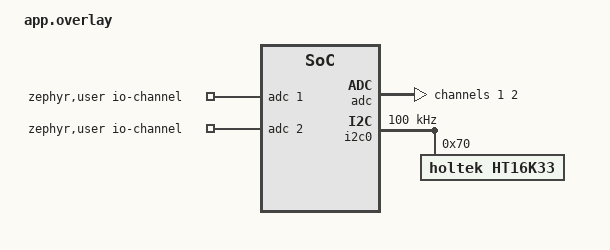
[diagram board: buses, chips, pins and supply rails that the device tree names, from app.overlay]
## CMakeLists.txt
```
#
# Copyright (c) 2018 Nordic Semiconductor
#
# SPDX-License-Identifier: LicenseRef-Nordic-5-Clause
#
cmake_minimum_required(VERSION 3.20.0)

find_package(Zephyr REQUIRED HINTS $ENV{ZEPHYR_BASE})
project(NONE)

# NORDIC SDK APP START
target_sources(app PRIVATE
  src/main.c
  src/led.c
)

# Include UART ASYNC API adapter
target_sources_ifdef(CONFIG_BT_NUS_UART_ASYNC_ADAPTER app PRIVATE
  src/uart_async_adapter.c
)

# NORDIC SDK APP END

zephyr_library_include_directories(.)
```

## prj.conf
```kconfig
CONFIG_ADC=y
# CONFIG_ADC_ASYNC=y

CONFIG_LOG=y
CONFIG_I2C=y
CONFIG_LED=y
CONFIG_KSCAN=y
CONFIG_KSCAN_INIT_PRIORITY=95
CONFIG_HT16K33_KEYSCAN=y

CONFIG_BT=y
CONFIG_BT_DEBUG_LOG=y
CONFIG_BT_L2CAP_TX_BUF_COUNT=5
CONFIG_BT_PERIPHERAL=y
CONFIG_BT_DEVICE_NAME="My_Device"
CONFIG_BT_DEVICE_APPEARANCE=962

CONFIG_UART_CONSOLE=y
CONFIG_UART_LINE_CTRL=y

CONFIG_HEAP_MEM_POOL_SIZE=2048
```

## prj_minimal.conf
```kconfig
#
# Copyright (c) 2021 Nordic Semiconductor
#
# SPDX-License-Identifier: LicenseRef-Nordic-5-Clause
#

# Enable the UART driver
CONFIG_UART_ASYNC_API=y
CONFIG_NRFX_UARTE0=y
CONFIG_SERIAL=y

CONFIG_HEAP_MEM_POOL_SIZE=2048

CONFIG_BT=y
CONFIG_BT_PERIPHERAL=y
CONFIG_BT_DEVICE_NAME="Jang" #TODO: Edit according to your device
CONFIG_BT_DEVICE_APPEARANCE=833
CONFIG_BT_MAX_CONN=1
CONFIG_BT_MAX_PAIRED=1

# Enable the NUS service
CONFIG_BT_NUS=y

# Enable bonding
CONFIG_BT_SETTINGS=y
CONFIG_FLASH=y
CONFIG_FLASH_PAGE_LAYOUT=y
CONFIG_FLASH_MAP=y
CONFIG_NVS=y
CONFIG_SETTINGS=y

# Enable DK LED and Buttons library
CONFIG_DK_LIBRARY=y

# Drivers and peripherals
# CONFIG_I2C=n
CONFIG_WATCHDOG=n
CONFIG_SPI=n
CONFIG_GPIO=n

CONFIG_ADC=y
# CONFIG_ADC_ASYNC=y

# CONFIG_LOG=y
CONFIG_I2C=y
CONFIG_LED=y
CONFIG_KSCAN=y
CONFIG_KSCAN_INIT_PRIORITY=95
CONFIG_HT16K33_KEYSCAN=y

# Power management

# Interrupts
CONFIG_DYNAMIC_INTERRUPTS=n
CONFIG_IRQ_OFFLOAD=n

# Memory protection
CONFIG_THREAD_STACK_INFO=n
CONFIG_THREAD_CUSTOM_DATA=n
CONFIG_FPU=n

# Boot
CONFIG_BOOT_BANNER=n
CONFIG_BOOT_DELAY=0

# Console
CONFIG_CONSOLE=n
CONFIG_UART_CONSOLE=n
CONFIG_STDOUT_CONSOLE=n
CONFIG_PRINTK=n
CONFIG_EARLY_CONSOLE=n

# Build
CONFIG_SIZE_OPTIMIZATIONS=y

# ARM
CONFIG_ARM_MPU=n

# In order to correctly tune the stack sizes for the threads the following
# Configurations can enabled to print the current use:
#CONFIG_THREAD_NAME=y
#CONFIG_THREAD_ANALYZER=y
#CONFIG_THREAD_ANALYZER_AUTO=y
#CONFIG_THREAD_ANALYZER_RUN_UNLOCKED=y
#CONFIG_THREAD_ANALYZER_USE_PRINTK=y
#CONFIG_CONSOLE=y
#CONFIG_UART_CONSOLE=y
#CONFIG_SERIAL=y
#CONFIG_PRINTK=y

# Example output of thread analyzer
#SDC RX              : unused 800 usage 224 / 1024 (21 %)
#BT ECC              : unused 216 usage 888 / 1104 (80 %)
#BT RX               : unused 1736 usage 464 / 2200 (21 %)
#BT TX               : unused 1008 usage 528 / 1536 (34 %)
#ble_write_thread_id : unused 688 usage 336 / 1024 (32 %)
#sysworkq            : unused 1912 usage 136 / 2048 (6 %)
#MPSL signal         : unused 928 usage 96 / 1024 (9 %)
#idle 00             : unused 224 usage 96 / 320 (30 %)
#main                : unused 568 usage 456 / 1024 (44 %)
CONFIG_BT_RX_STACK_SIZE=1024
CONFIG_BT_HCI_TX_STACK_SIZE_WITH_PROMPT=y
CONFIG_BT_HCI_TX_STACK_SIZE=640
CONFIG_SYSTEM_WORKQUEUE_STACK_SIZE=512
CONFIG_MPSL_WORK_STACK_SIZE=256
CONFIG_MAIN_STACK_SIZE=864
CONFIG_IDLE_STACK_SIZE=128
CONFIG_ISR_STACK_SIZE=1024
CONFIG_BT_NUS_THREAD_STACK_SIZE=512

# Disable features not needed
CONFIG_TIMESLICING=n
CONFIG_MINIMAL_LIBC_MALLOC=n
# CONFIG_LOG=n
CONFIG_ASSERT=n

# Disable Bluetooth features not needed
CONFIG_BT_DEBUG_NONE=y
CONFIG_BT_ASSERT=n
CONFIG_BT_DATA_LEN_UPDATE=n
CONFIG_BT_PHY_UPDATE=n
CONFIG_BT_GATT_CACHING=n
CONFIG_BT_GATT_SERVICE_CHANGED=n
CONFIG_BT_GAP_PERIPHERAL_PREF_PARAMS=n
CONFIG_BT_SETTINGS_CCC_LAZY_LOADING=y
CONFIG_BT_HCI_VS_EXT=n

# Disable Bluetooth controller features not needed
CONFIG_BT_CTLR_PRIVACY=n
CONFIG_BT_CTLR_PHY_2M=n

# Reduce Bluetooth buffers
CONFIG_BT_BUF_EVT_DISCARDABLE_COUNT=1
CONFIG_BT_BUF_EVT_DISCARDABLE_SIZE=43
CONFIG_BT_BUF_EVT_RX_COUNT=2

CONFIG_BT_CONN_TX_MAX=2
CONFIG_BT_L2CAP_TX_BUF_COUNT=2
CONFIG_BT_CTLR_RX_BUFFERS=1
CONFIG_BT_BUF_ACL_TX_COUNT=3
CONFIG_BT_BUF_ACL_TX_SIZE=27
```

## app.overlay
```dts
/*
 * Copyright (c) 2022 Nordic Semiconductor ASA
 *
 * SPDX-License-Identifier: LicenseRef-Nordic-5-Clause
 */

/ {
	zephyr,user {
		io-channels = <&adc 1>, <&adc 2>;
	};
};

&adc {
	#address-cells = <1>;
	#size-cells = <0>;

	channel@1 {
		reg = <1>;
		zephyr,gain = "ADC_GAIN_1";
		zephyr,reference = "ADC_REF_INTERNAL";
		zephyr,acquisition-time = <ADC_ACQ_TIME_DEFAULT>;
		zephyr,input-positive = <NRF_SAADC_AIN1>; /* P0.03 */
		zephyr,resolution = <10>;
		// zephyr,differential;
	};

	channel@2 {
		reg = <2>;
		zephyr,gain = "ADC_GAIN_1";
		zephyr,reference = "ADC_REF_INTERNAL";
		zephyr,acquisition-time = <ADC_ACQ_TIME_DEFAULT>;
		zephyr,input-positive = <NRF_SAADC_AIN2>; /* P0.04 */
		zephyr,resolution = <10>;
		// zephyr,differential;
	};
};


&i2c0 {
	clock-frequency = <I2C_BITRATE_STANDARD>;

	ht16k33@70 {
		compatible = "holtek,ht16k33";
		reg = <0x70>;
                /* Uncomment to use IRQ instead of polling: */
		/* irq-gpios = <&gpio1 8 (GPIO_PULL_UP | GPIO_ACTIVE_LOW)>; */

		keyscan {
			compatible = "holtek,ht16k33-keyscan";
		};
	};
};

/ {
	chosen {
		nordic,nus-uart = &uart0;
	};
};
```

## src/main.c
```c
/*
 * Copyright (c) 2018 Nordic Semiconductor ASA
 *
 * SPDX-License-Identifier: LicenseRef-Nordic-5-Clause
 */

/** @file
 *  @brief Nordic UART Bridge Service (NUS) sample
 */

#include <zephyr/types.h>
#include <zephyr/kernel.h>
#include <zephyr/drivers/uart.h>
#include <zephyr/usb/usb_device.h>

#include <zephyr/device.h>
#include <zephyr/devicetree.h>
#include <soc.h>

#include <zephyr/bluetooth/bluetooth.h>
#include <zephyr/bluetooth/uuid.h>
#include <zephyr/bluetooth/gatt.h>
#include <zephyr/bluetooth/hci.h>

#include <bluetooth/services/nus.h>

#include <dk_buttons_and_leds.h>

#include <zephyr/settings/settings.h>

#include <stdio.h>

#include <zephyr/logging/log.h>

//led
#include <zephyr/drivers/adc.h>
#include <zephyr/kernel.h>
#include <zephyr/sys/util.h>
#include <inttypes.h>
#include <stddef.h>
#include <stdint.h>

#define LOG_MODULE_NAME peripheral_uart
LOG_MODULE_REGISTER(LOG_MODULE_NAME);

#define STACKSIZE CONFIG_BT_NUS_THREAD_STACK_SIZE
#define PRIORITY 7

#define DEVICE_NAME CONFIG_BT_DEVICE_NAME
#define DEVICE_NAME_LEN (sizeof(DEVICE_NAME) - 1)

#define RUN_STATUS_LED DK_LED1
#define CON_STATUS_LED DK_LED2

#define BUTTON1 DK_BTN1_MSK
#define BUTTON2 DK_BTN2_MSK
#define BUTTON3 DK_BTN3_MSK
#define BUTTON4 DK_BTN4_MSK

#define UART_BUF_SIZE CONFIG_BT_NUS_UART_BUFFER_SIZE
#define UART_WAIT_FOR_BUF_DELAY K_MSEC(50)
#define UART_WAIT_FOR_RX CONFIG_BT_NUS_UART_RX_WAIT_TIME

static K_SEM_DEFINE(ble_init_ok, 0, 1);

static struct bt_conn *current_conn;
static struct bt_conn *auth_conn;

static const struct device *uart = DEVICE_DT_GET(DT_CHOSEN(nordic_nus_uart));
static struct k_work_delayable uart_work;

struct uart_data_t {
    void *fifo_reserved;
    uint8_t data[UART_BUF_SIZE];
    uint16_t len;
};

static K_FIFO_DEFINE(fifo_uart_tx_data);
static K_FIFO_DEFINE(fifo_uart_rx_data);

static const struct bt_data ad[] = {
    BT_DATA_BYTES(BT_DATA_FLAGS, (BT_LE_AD_GENERAL | BT_LE_AD_NO_BREDR)),
    BT_DATA(BT_DATA_NAME_COMPLETE, DEVICE_NAME, DEVICE_NAME_LEN),
};

static const struct bt_data sd[] = {
    BT_DATA_BYTES(BT_DATA_UUID128_ALL, BT_UUID_NUS_VAL),
};

//led part
#include "led.h"

#if !DT_NODE_EXISTS(DT_PATH(zephyr_user)) || \
    !DT_NODE_HAS_PROP(DT_PATH(zephyr_user), io_channels)
#error "No suitable devicetree overlay specified"
#endif

#define DT_SPEC_AND_COMMA(node_id, prop, idx) \
    ADC_DT_SPEC_GET_BY_IDX(node_id, idx),

/* Data of ADC io-channels specified in devicetree. */
static const struct adc_dt_spec adc_channels[] = {
    DT_FOREACH_PROP_ELEM(DT_PATH(zephyr_user), io_channels,
                 DT_SPEC_AND_COMMA)
};

// add for joystick
int32_t preX = 0 , perY = 0;
static const int ADC_MAX = 1023;
// static const int ADC_MIN = 0;
static const int AXIS_DEVIATION = ADC_MAX / 2;
int32_t nowX = 0;
int32_t nowY = 0;

bool isChange(void)
{
    if((nowX < (preX - 50)) || nowX > (preX+50)){
        preX = nowX;
        return true;
    }

    if((nowY < (perY - 50)) || nowY > (perY+50)){
        perY = nowY;
        return true;
    }
    return false;
}

static void uart_cb(const struct device *dev, struct uart_event *evt, void *user_data)
{
    ARG_UNUSED(dev);

    static size_t aborted_len;
    struct uart_data_t *buf;
    static uint8_t *aborted_buf;
    static bool disable_req;

    switch (evt->type) {
    case UART_TX_DONE:
        LOG_DBG("UART_TX_DONE");
        if ((evt->data.tx.len == 0) ||
            (!evt->data.tx.buf)) {
            return;
        }

        if (aborted_buf) {
            buf = CONTAINER_OF(aborted_buf, struct uart_data_t,
                       data);
            aborted_buf = NULL;
            aborted_len = 0;
        } else {
            buf = CONTAINER_OF(evt->data.tx.buf, struct uart_data_t,
                       data);
        }

        k_free(buf);

        buf = k_fifo_get(&fifo_uart_tx_data, K_NO_WAIT);
        if (!buf) {
            return;
        }

        if (uart_tx(uart, buf->data, buf->len, SYS_FOREVER_MS)) {
            LOG_WRN("Failed to send data over UART");
        }

        break;

    case UART_RX_RDY:
        LOG_DBG("UART_RX_RDY");
        buf = CONTAINER_OF(evt->data.rx.buf, struct uart_data_t, data);
        buf->len += evt->data.rx.len;

        if (disable_req) {
            return;
        }

        if ((evt->data.rx.buf[buf->len - 1] == '\n') ||
            (evt->data.rx.buf[buf->len - 1] == '\r')) {
            disable_req = true;
            uart_rx_disable(uart);
        }

        break;

    case UART_RX_DISABLED:
        LOG_DBG("UART_RX_DISABLED");
        disable_req = false;

        buf = k_malloc(sizeof(*buf));
        if (buf) {
            buf->len = 0;
        } else {
            LOG_WRN("Not able to allocate UART receive buffer");
            k_work_reschedule(&uart_work, UART_WAIT_FOR_BUF_DELAY);
            return;
        }

        uart_rx_enable(uart, buf->data, sizeof(buf->data),
                   UART_WAIT_FOR_RX);

        break;

    case UART_RX_BUF_REQUEST:
        LOG_DBG("UART_RX_BUF_REQUEST");
        buf = k_malloc(sizeof(*buf));
        if (buf) {
            buf->len = 0;
            uart_rx_buf_rsp(uart, buf->data, sizeof(buf->data));
        } else {
            LOG_WRN("Not able to allocate UART receive buffer");
        }

        break;

    case UART_RX_BUF_RELEASED:
        LOG_DBG("UART_RX_BUF_RELEASED");
        buf = CONTAINER_OF(evt->data.rx_buf.buf, struct uart_data_t,
                   data);

        if (buf->len > 0) {
            k_fifo_put(&fifo_uart_rx_data, buf);
        } else {
            k_free(buf);
        }

        break;

    case UART_TX_ABORTED:
        LOG_DBG("UART_TX_ABORTED");
        if (!aborted_buf) {
            aborted_buf = (uint8_t *)evt->data.tx.buf;
        }

        aborted_len += evt->data.tx.len;
        buf = CONTAINER_OF(aborted_buf, struct uart_data_t,
                   data);

        uart_tx(uart, &buf->data[aborted_len],
            buf->len - aborted_len, SYS_FOREVER_MS);

        break;

    default:
        break;
    }
}

static void uart_work_handler(struct k_work *item)
{
    struct uart_data_t *buf;

    buf = k_malloc(sizeof(*buf));
    if (buf) {
        buf->len = 0;
    } else {
        LOG_WRN("Not able to allocate UART receive buffer");
        k_work_reschedule(&uart_work, UART_WAIT_FOR_BUF_DELAY);
        return;
    }

    uart_rx_enable(uart, buf->data, sizeof(buf->data), UART_WAIT_FOR_RX);
}

static int uart_init(void)
{
    int err;
    int pos;
    struct uart_data_t *rx;
    struct uart_data_t *tx;

    if (!device_is_ready(uart)) {
        return -ENODEV;
    }

    if (IS_ENABLED(CONFIG_USB_DEVICE_STACK)) {
        err = usb_enable(NULL);
        if (err && (err != -EALREADY)) {
            LOG_ERR("Failed to enable USB");
            return err;
        }
    }

    rx = k_malloc(sizeof(*rx));
    if (rx) {
        rx->len = 0;
    } else {
        return -ENOMEM;
    }

    k_work_init_delayable(&uart_work, uart_work_handler);


    err = uart_callback_set(uart, uart_cb, NULL);
    if (err) {
        k_free(rx);
        LOG_ERR("Cannot initialize UART callback");
        return err;
    }

    if (IS_ENABLED(CONFIG_UART_LINE_CTRL)) {
        LOG_INF("Wait for DTR");
        while (true) {
            uint32_t dtr = 0;

            uart_line_ctrl_get(uart, UART_LINE_CTRL_DTR, &dtr);
            if (dtr) {
                break;
            }
            /* Give CPU resources to low priority threads. */
            k_sleep(K_MSEC(100));
        }
        LOG_INF("DTR set");
        err = uart_line_ctrl_set(uart, UART_LINE_CTRL_DCD, 1);
        if (err) {
            LOG_WRN("Failed to set DCD, ret code %d", err);
        }
        err = uart_line_ctrl_set(uart, UART_LINE_CTRL_DSR, 1);
        if (err) {
            LOG_WRN("Failed to set DSR, ret code %d", err);
        }
    }

    tx = k_malloc(sizeof(*tx));

    if (tx) {
        pos = snprintf(tx->data, sizeof(tx->data),
                   "Starting Nordic UART service example\r\n");

        if ((pos < 0) || (pos >= sizeof(tx->data))) {
            k_free(rx);
            k_free(tx);
            LOG_ERR("snprintf returned %d", pos);
            return -ENOMEM;
        }

        tx->len = pos;
    } else {
        k_free(rx);
        return -ENOMEM;
    }

    err = uart_tx(uart, tx->data, tx->len, SYS_FOREVER_MS);
    if (err) {
        k_free(rx);
        k_free(tx);
        LOG_ERR("Cannot display welcome message (err: %d)", err);
        return err;
    }

    err = uart_rx_enable(uart, rx->data, sizeof(rx->data), 50);
    if (err) {
        LOG_ERR("Cannot enable uart reception (err: %d)", err);
        /* Free the rx buffer only because the tx buffer will be handled in the callback */
        k_free(rx);
    }

    return err;
}

static void connected(struct bt_conn *conn, uint8_t err)
{
    char addr[BT_ADDR_LE_STR_LEN];

    if (err) {
        LOG_ERR("Connection failed (err %u)", err);
        return;
    }

    bt_addr_le_to_str(bt_conn_get_dst(conn), addr, sizeof(addr));
    LOG_INF("Connected %s", addr);

    current_conn = bt_conn_ref(conn);

    dk_set_led_on(CON_STATUS_LED);
}

static void disconnected(struct bt_conn *conn, uint8_t reason)
{
    char addr[BT_ADDR_LE_STR_LEN];

    bt_addr_le_to_str(bt_conn_get_dst(conn), addr, sizeof(addr));

    LOG_INF("Disconnected: %s (reason %u)", addr, reason);

    if (auth_conn) {
        bt_conn_unref(auth_conn);
        auth_conn = NULL;
    }

    if (current_conn) {
        bt_conn_unref(current_conn);
        current_conn = NULL;
        dk_set_led_off(CON_STATUS_LED);
    }
}


BT_CONN_CB_DEFINE(conn_callbacks) = {
    .connected    = connected,
    .disconnected = disconnected
};


static void bt_receive_cb(struct bt_conn *conn, const uint8_t *const data,
              uint16_t len)
{
    int err;
    char addr[BT_ADDR_LE_STR_LEN] = {0};

    bt_addr_le_to_str(bt_conn_get_dst(conn), addr, ARRAY_SIZE(addr));

    LOG_INF("Received data from: %s", addr);

    for (uint16_t pos = 0; pos != len;) {
        struct uart_data_t *tx = k_malloc(sizeof(*tx));

        if (!tx) {
            LOG_WRN("Not able to allocate UART send data buffer");
            return;
        }

        /* Keep the last byte of TX buffer for potential LF char. */
        size_t tx_data_size = sizeof(tx->data) - 1;

        if ((len - pos) > tx_data_size) {
            tx->len = tx_data_size;
        } else {
            tx->len = (len - pos);
        }

        memcpy(tx->data, &data[pos], tx->len);

        pos += tx->len;

        /* Append the LF character when the CR character triggered
         * transmission from the peer.
         */
        if ((pos == len) && (data[len - 1] == '\r')) {
            tx->data[tx->len] = '\n';
            tx->len++;
        }

        err = uart_tx(uart, tx->data, tx->len, SYS_FOREVER_MS);
        if (err) {
            k_fifo_put(&fifo_uart_tx_data, tx);
        }
    }
}

static struct bt_nus_cb nus_cb = {
    .received = bt_receive_cb,
};

void error(void)
{
    dk_set_leds_state(DK_ALL_LEDS_MSK, DK_NO_LEDS_MSK);

    while (true) {
        /* Spin for ever */
        k_sleep(K_MSEC(1000));
    }
}

void button_changed(uint32_t button_state, uint32_t has_changed)
{
    uint32_t buttons = button_state & has_changed;

    if (buttons & BUTTON1) {
        char buf[7] = "Button1\n";
        bt_nus_send(NULL, buf, sizeof(buf));
    }

    if (buttons & BUTTON2) {
        char buf[7] = "Button2\n";
        bt_nus_send(NULL, buf, sizeof(buf));
    }

    if (buttons & BUTTON3) {
        char buf[7] = "Button3\n";
        bt_nus_send(NULL, buf, sizeof(buf));
    }

    if (buttons & BUTTON4) {
        char buf[7] = "Button4\n";
        bt_nus_send(NULL, buf, sizeof(buf));
    }

}

static void configure_gpio(void)
{
    int err;

    err = dk_buttons_init(button_changed);
    if (err) {
        LOG_ERR("Cannot init buttons (err: %d)", err);
    }

    err = dk_leds_init();
    if (err) {
        LOG_ERR("Cannot init LEDs (err: %d)", err);
    }
}

int main(void)
{
    int blink_status = 0;
    int err = 0;

    configure_gpio();

    err = uart_init();
    if (err) {
        error();
    }

    err = bt_enable(NULL);
    if (err) {
        error();
    }

    LOG_INF("Bluetooth initialized");

    k_sem_give(&ble_init_ok);

    if (IS_ENABLED(CONFIG_SETTINGS)) {
        settings_load();
    }

    err = bt_nus_init(&nus_cb);
    if (err) {
        LOG_ERR("Failed to initialize UART service (err: %d)", err);
        return 0;
    }

    err = bt_le_adv_start(BT_LE_ADV_CONN, ad, ARRAY_SIZE(ad), sd,
                  ARRAY_SIZE(sd));
    if (err) {
        LOG_ERR("Advertising failed to start (err %d)", err);
        return 0;
    }

    //led 
    uint32_t count = 0;
    uint16_t bufled;
    struct adc_sequence sequence = {
     .buffer = &bufled,
     /* buffer size in bytes, not number of samples */
     .buffer_size = sizeof(bufled),
    };

    /* Configure channels individually prior to sampling. */
    for (size_t i = 0U; i < ARRAY_SIZE(adc_channels); i++) {
     if (!adc_is_ready_dt(&adc_channels[i])) {
         printk("ADC controller device %s not ready\n", adc_channels[i].dev->name);
         return 0;
     }

     err = adc_channel_setup_dt(&adc_channels[i]);
     if (err < 0) {
         printk("Could not setup channel #%d (%d)\n", i, err);
         return 0;
     }
    }

    led_init();
	led_on_right();

    char right[5] = "Right"; //TODO: Need to change
	char left[4] = "Left";
	char down[4] = "Down";
	char up[2] = "Up";

    for (;;) {

        printk("ADC reading[%u]: ", count++);

        (void)adc_sequence_init_dt(&adc_channels[0], &sequence);
        err = adc_read(adc_channels[0].dev, &sequence);
        if (err < 0) {
         printk("Could not read (%d)\n", err);
         continue;
        }

        nowX = (int32_t)bufled;

        (void)adc_sequence_init_dt(&adc_channels[1], &sequence);
        err = adc_read(adc_channels[1].dev, &sequence);
        if (err < 0) {
         printk("Could not read (%d)\n", err);
         continue;
        }

        nowY = (int32_t)bufled;

        if (nowX >= 65500 || nowY >= 65500){
         k_sleep(K_MSEC(50));
         continue;
        }

        bool checkFlag = isChange();
        if(!checkFlag){
         	k_sleep(K_MSEC(50));
         continue;
        } else {
         led_off_all();
        }

        if (nowX == ADC_MAX && nowY == ADC_MAX){
         led_on_center();
         printk("Center");
        } else if (nowX < AXIS_DEVIATION && nowY == ADC_MAX){
         led_on_left();
         bt_nus_send(NULL, left, sizeof(left));
        } else if (nowX > AXIS_DEVIATION && nowY == ADC_MAX){
         led_on_right();
         bt_nus_send(NULL, right, sizeof(right));
        } else if (nowY > AXIS_DEVIATION && nowX == ADC_MAX){
         led_on_up();
         bt_nus_send(NULL, up, sizeof(up));
        } else if (nowY < AXIS_DEVIATION && nowX == ADC_MAX){
         led_on_down();
         bt_nus_send(NULL, down, sizeof(down));
        }

        printk("\n");

        // k_sleep(K_MSEC(100));

        dk_set_led(RUN_STATUS_LED, (++blink_status) % 2);
        k_sleep(K_MSEC(50));
        // bt_nus_send(NULL, buf, 20);
    }
}

void ble_write_thread(void)
{
    /* Don't go any further until BLE is initialized */
    k_sem_take(&ble_init_ok, K_FOREVER);

    for (;;) {
        /* Wait indefinitely for data to be sent over bluetooth */
        struct uart_data_t *buf = k_fifo_get(&fifo_uart_rx_data,
                             K_MSEC(50));

        if (bt_nus_send(NULL, buf->data, buf->len)) {
            LOG_WRN("Failed to send data over BLE connection");
        }

        k_free(buf);
    }
}

K_THREAD_DEFINE(ble_write_thread_id, STACKSIZE, ble_write_thread, NULL, NULL,
        NULL, PRIORITY, 0, 0);
```

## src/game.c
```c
#include <inttypes.h>
#include <stddef.h>
#include <stdint.h>

#include <zephyr/device.h>
#include <zephyr/devicetree.h>
#include <zephyr/drivers/adc.h>
#include <zephyr/kernel.h>
#include <zephyr/sys/printk.h>
#include <zephyr/sys/util.h>

#include "led.h"

#if !DT_NODE_EXISTS(DT_PATH(zephyr_user)) || \
    !DT_NODE_HAS_PROP(DT_PATH(zephyr_user), io_channels)
#error "No suitable devicetree overlay specified"
#endif

#define DT_SPEC_AND_COMMA(node_id, prop, idx) \
    ADC_DT_SPEC_GET_BY_IDX(node_id, idx),

/* Data of ADC io-channels specified in devicetree. */
static const struct adc_dt_spec adc_channels[] = {
    DT_FOREACH_PROP_ELEM(DT_PATH(zephyr_user), io_channels,
                         DT_SPEC_AND_COMMA)
};

static const int ADC_MAX = 1023;
static const int AXIS_DEVIATION = ADC_MAX / 2;
int32_t nowX = 0;
int32_t nowY = 0;

// Game constants
#define PADDLE_HEIGHT 2
#define PADDLE_WIDTH 1
#define BALL_SIZE 1
#define FIELD_WIDTH 8
#define FIELD_HEIGHT 8
#define PADDLE1_START 3
#define PADDLE2_START 3
#define BALL_START_X 4
#define BALL_START_Y 4

// Game state
int paddle1_y = PADDLE1_START;
int paddle2_y = PADDLE2_START;
int ball_x = BALL_START_X;
int ball_y = BALL_START_Y;
int ball_dir_x = 1; // 1 for right, -1 for left
int ball_dir_y = 1; // 1 for down, -1 for up

void draw_game(void)
{
    led_off_all();

    // Draw paddles
    for (int i = 0; i < PADDLE_HEIGHT; i++) {
        led_on(paddle1_y + i, 0);
        led_on(paddle2_y + i, FIELD_WIDTH - 1);
    }

    // Draw ball
    led_on(ball_y, ball_x);
}

void update_ball(void)
{
    ball_x += ball_dir_x;
    ball_y += ball_dir_y;

    // Ball collision with top or bottom
    if (ball_y <= 0 || ball_y >= FIELD_HEIGHT - BALL_SIZE) {
        ball_dir_y = -ball_dir_y;
    }

    // Ball collision with paddles
    if (ball_x == 1 && ball_y >= paddle1_y && ball_y < paddle1_y + PADDLE_HEIGHT) {
        ball_dir_x = -ball_dir_x;
    } else if (ball_x == FIELD_WIDTH - 2 && ball_y >= paddle2_y && ball_y < paddle2_y + PADDLE_HEIGHT) {
        ball_dir_x = -ball_dir_x;
    }

    // Ball out of bounds (scoring)
    if (ball_x <= 0 || ball_x >= FIELD_WIDTH - 1) {
        // Reset ball position
        ball_x = BALL_START_X;
        ball_y = BALL_START_Y;
    }
}

void update_paddle(int32_t joystick_val, int *paddle_y)
{
    if (joystick_val < AXIS_DEVIATION - 50 && *paddle_y > 0) {
        (*paddle_y)--;
    } else if (joystick_val > AXIS_DEVIATION + 50 && *paddle_y < FIELD_HEIGHT - PADDLE_HEIGHT) {
        (*paddle_y)++;
    }
}

int main(void)
{
    int err;
    uint16_t buf;
    struct adc_sequence sequence = {
        .buffer = &buf,
        .buffer_size = sizeof(buf),
    };

    /* Configure channels individually prior to sampling. */
    for (size_t i = 0U; i < ARRAY_SIZE(adc_channels); i++) {
        if (!adc_is_ready_dt(&adc_channels[i])) {
            printk("ADC controller device %s not ready\n", adc_channels[i].dev->name);
            return 0;
        }

        err = adc_channel_setup_dt(&adc_channels[i]);
        if (err < 0) {
            printk("Could not setup channel #%d (%d)\n", i, err);
            return 0;
        }
    }

    led_init();

    while (1) {
        // Read joystick for player 1
        (void)adc_sequence_init_dt(&adc_channels[0], &sequence);
        err = adc_read(adc_channels[0].dev, &sequence);
        if (err < 0) {
            printk("Could not read (%d)\n", err);
            continue;
        }
        nowY = (int32_t)buf;
        update_paddle(nowY, &paddle1_y);

        // Read joystick for player 2
        (void)adc_sequence_init_dt(&adc_channels[1], &sequence);
        err = adc_read(adc_channels[1].dev, &sequence);
        if (err < 0) {
            printk("Could not read (%d)\n", err);
            continue;
        }
        nowY = (int32_t)buf;
        update_paddle(nowY, &paddle2_y);

        // Update ball position
        update_ball();

        // Draw game state
        draw_game();

        k_sleep(K_MSEC(100));
    }
    return 0;
}
```

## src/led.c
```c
#include "led.h"

int led_init(void)
{
    if(!device_is_ready(led)){
        printk("LED device %s is not ready\n", led->name);
    }

    return 0;
}

void led_on_on(int current) {
    led_on(led, current);
    k_sleep(K_MSEC(100));
}

void led_off_all(void)
{
    for(int i = 0; i< MAX_LED_NUM; i++){
        led_off(led, i);
    }
}

// * * * * * * * * * * * * * * * *  0 ~ 15
// * * * * * * * * * * * * * * * * 16 ~ 31
// * * * * * * x x x x * * * * * * 32 ~ 47 (38 ~ 41)
// * * * * * * x x x x * * * * * * 48 ~ 63 (54 ~ 57)
// * * * * * * x x x x * * * * * * 64 ~ 79 (70 ~ 73)
// * * * * * * x x x x * * * * * * 80 ~ 95 (86 ~ 89)
// * * * * * * * * * * * * * * * * 96 ~ 111
// * * * * * * * * * * * * * * * * 112 ~ 127

void led_on_center(void)
{
    // led_off_all();
    led_set_brightness(led, 0, 0);

    for(int i = 38; i < 95; i+=16){
        led_on(led, i);
        led_on(led, i+1);
        led_on(led, i+2);
        led_on(led, i+3);
    }

    k_sleep(K_MSEC(100));

    // led_on(led, 38); led_on(led, 39);led_on(led, 40); led_on(led, 41);
    // led_on(led, 54); led_on(led, 55); led_on(led, 56); led_on(led, 57);
    // led_on(led, 70); led_on(led, 71); led_on(led, 72); led_on(led, 73);
    // led_on(led, 86); led_on(led, 87); led_on(led, 88); led_on(led, 89);
}

// * * * * * * * * * * * * * * * *  0 ~ 15
// * * * * * * * * * * x * * * * * 16 ~ 31 (26)
// * * * * * * x x x x x x * * * * 32 ~ 47 (38 ~ 43)
// * * * * * * x x x x x x x x * * 48 ~ 63 (54 ~ 61)
// * * * * * * x x x x x x x x * * 64 ~ 79 (70 ~ 76)
// * * * * * * x x x x x x * * * * 80 ~ 95 (86 ~ 91)
// * * * * * * * * * * x * * * * * 96 ~ 111(106)
// * * * * * * * * * * * * * * * * 112 ~ 127

void led_on_right(void)
{
    // led_off_all();

    led_on(led, 26);
    led_on(led, 38); led_on(led, 39); led_on(led, 40); led_on(led, 41); led_on(led, 42); led_on(led, 43);
    led_on(led, 54); led_on(led, 55); led_on(led, 56); led_on(led, 57); led_on(led, 58); led_on(led, 59); led_on(led, 60); led_on(led, 61);
    led_on(led, 70); led_on(led, 71); led_on(led, 72); led_on(led, 73); led_on(led, 74); led_on(led, 75); led_on(led, 76); led_on(led, 77);
    led_on(led, 86); led_on(led, 87); led_on(led, 88); led_on(led, 89); led_on(led, 90); led_on(led, 91);
    led_on(led, 106);

    k_sleep(K_MSEC(100));
}


// * * * * * * * * * * * * * * * *  0 ~ 15
// * * * * * x * * * * * * * * * * 16 ~ 31 (21)
// * * * * x x x x x x * * * * * * 32 ~ 47 (36 ~ 41)
// * * x x x x x x x x * * * * * * 48 ~ 63 (50 ~ 57)
// * * x x x x x x x x * * * * * * 64 ~ 79 (66 ~ 73)
// * * * * x x x x x x * * * * * * 80 ~ 95 (84 ~ 89)
// * * * * * x * * * * * * * * * * 96 ~ 111 (101)
// * * * * * * * * * * * * * * * * 112 ~ 127

void led_on_left(void)
{
    // led_off_all();

    led_on(led, 21);
    led_on(led, 36); led_on(led, 37); led_on(led, 38); led_on(led, 39); led_on(led, 40); led_on(led, 41);
    led_on(led, 50); led_on(led, 51); led_on(led, 52); led_on(led, 53); led_on(led, 54); led_on(led, 55); led_on(led, 56); led_on(led, 57);
    led_on(led, 66); led_on(led, 67); led_on(led, 68); led_on(led, 69); led_on(led, 70); led_on(led, 71); led_on(led, 72); led_on(led, 73);
    led_on(led, 84); led_on(led, 85); led_on(led, 86); led_on(led, 87); led_on(led, 88); led_on(led, 89);
    led_on(led, 101);

    k_sleep(K_MSEC(100));
}


// * * * * * * * * * * * * * * * *  0 ~ 15
// * * * * * * * x x * * * * * * * 16 ~ 31 (23 ~ 24)
// * * * * * x x x x x x * * * * * 32 ~ 47 (37 ~ 42)
// * * * * x x x x x x x x * * * * 48 ~ 63 (52 ~ 59)
// * * * * * * x x x x * * * * * * 64 ~ 79 (70 ~ 73)
// * * * * * * x x x x * * * * * * 80 ~ 95 (86 ~ 89)
// * * * * * * * * * * * * * * * * 96 ~ 111
// * * * * * * * * * * * * * * * * 112 ~ 127

void led_on_up(void)
{
    // led_off_all();

    led_on(led, 23); led_on(led, 24);
    led_on(led, 37); led_on(led, 38); led_on(led, 39); led_on(led, 40); led_on(led, 41); led_on(led, 42);
    led_on(led, 52); led_on(led, 53); led_on(led, 54); led_on(led, 55); led_on(led, 56); led_on(led, 57); led_on(led, 58); led_on(led, 59);
    led_on(led, 70); led_on(led, 71); led_on(led, 72); led_on(led, 73);
    led_on(led, 86); led_on(led, 87); led_on(led, 88); led_on(led, 89);

    k_sleep(K_MSEC(100));
}

// * * * * * * * * * * * * * * * *  0 ~ 15
// * * * * * * * * * * * * * * * * 16 ~ 31
// * * * * * * x x x x * * * * * * 32 ~ 47 (38 ~ 41)
// * * * * * * x x x x * * * * * * 48 ~ 63 (54 ~ 57)
// * * * * x x x x x x x x * * * * 64 ~ 79 (68 ~ 75)
// * * * * * x x x x x x * * * * * 80 ~ 95 (85 ~ 90)
// * * * * * * * x x * * * * * * * 96 ~ 111(103 ~ 104)
// * * * * * * * * * * * * * * * * 112 ~ 127

void led_on_down(void)
{
    // led_off_all();

    led_on(led, 38); led_on(led, 39); led_on(led, 40); led_on(led, 41);
    led_on(led, 54); led_on(led, 55); led_on(led, 56); led_on(led, 57);
    led_on(led, 68); led_on(led, 69); led_on(led, 70); led_on(led, 71); led_on(led, 72); led_on(led, 73); led_on(led, 74); led_on(led, 75);
    led_on(led, 85); led_on(led, 86); led_on(led, 87); led_on(led, 88); led_on(led, 89); led_on(led, 90);
    led_on(led, 103); led_on(led, 104);

    k_sleep(K_MSEC(100));

}
```
